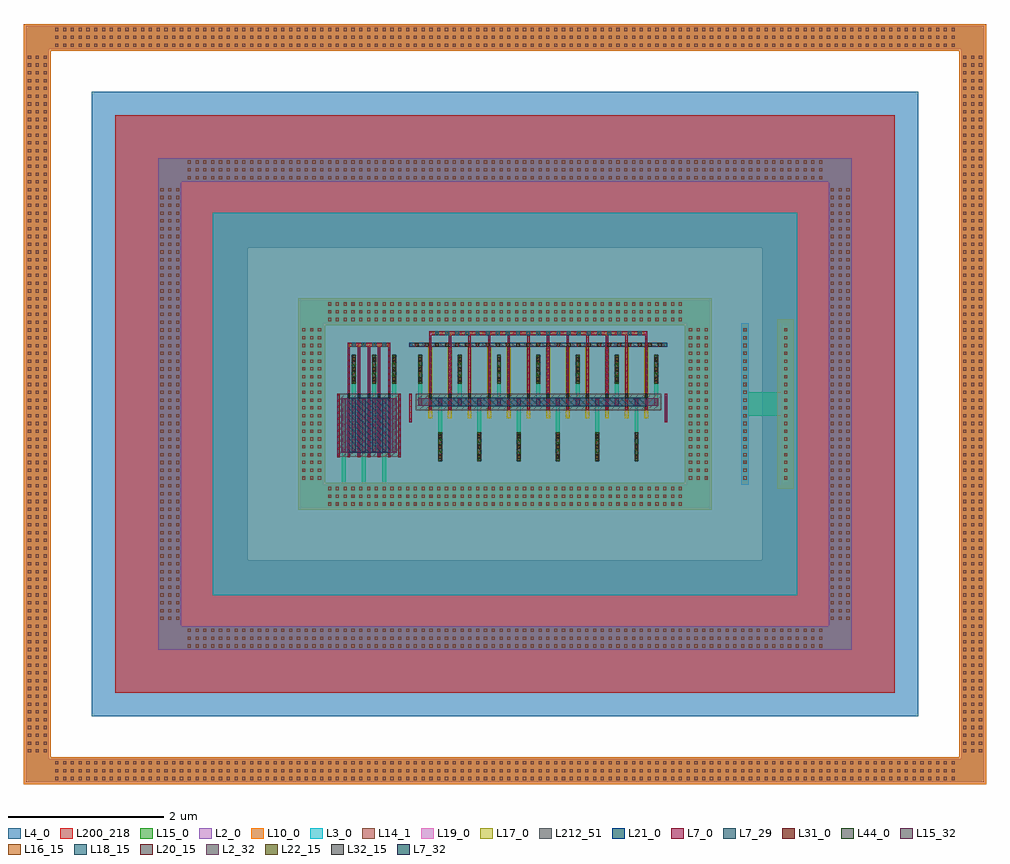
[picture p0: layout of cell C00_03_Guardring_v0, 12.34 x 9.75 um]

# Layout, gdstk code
import gdstk
lib = gdstk.Library(unit=1e-6, precision=1e-09)
def R(c, l, rs):  # rectangles x0, y0, x1, y1
    for r in rs: c.add(gdstk.rectangle(r[:2], r[2:], *l))
def A(c, l, x, y, w, h, nx, ny, dx, dy):  # array of equal rectangles
    R(c, l, [(x+i*dx, y+j*dy, x+i*dx+w, y+j*dy+h) for i in range(nx) for j in range(ny)])
L2_0 = (2, 0)
L2_32 = (2, 32)
L3_0 = (3, 0)
L4_0 = (4, 0)
L7_0 = (7, 0)
L7_29 = (7, 29)
L7_32 = (7, 32)
L10_0 = (10, 0)
L14_1 = (14, 1)
L15_0 = (15, 0)
L15_32 = (15, 32)
L16_15 = (16, 15)
L17_0 = (17, 0)
L18_15 = (18, 15)
L19_0 = (19, 0)
L20_15 = (20, 15)
L21_0 = (21, 0)
L22_15 = (22, 15)
L31_0 = (31, 0)
L32_15 = (32, 15)
L44_0 = (44, 0)
L200_218 = (200, 218)
L212_51 = (212, 51)

c00_03_guardring_v0_srf_ = lib.new_cell('C00_03_Guardring_v0:SRF_Tr1Tr2:SRF_Tr1:SRF_Nmos')
R(c00_03_guardring_v0_srf_, L2_0, [(-0.139,0.057,2.941,0.157)])
R(c00_03_guardring_v0_srf_, L2_32, [(-0.139,0.057,0,0.157), (2.802,0.057,2.941,0.157)])
A(c00_03_guardring_v0_srf_, L7_0, 0, 0, 0.03, 0.214, 12, 1, 0.252, 0)
R(c00_03_guardring_v0_srf_, L7_0, [(-0.252,-0.153,-0.222,0.214), (3.024,-0.153,3.054,0.214)])
R(c00_03_guardring_v0_srf_, L7_29, [(-0.005,0.052,2.807,0.162)])
A(c00_03_guardring_v0_srf_, L7_32, 0, 0.157, 0.03, 0.057, 12, 1, 0.252, 0)
A(c00_03_guardring_v0_srf_, L14_1, -0.131, 0.087, 0.04, 0.04, 13, 1, 0.252, 0)
R(c00_03_guardring_v0_srf_, L15_0, [(-0.136,0.066,-0.086,0.148), (-0.136,0.066,-0.086,0.148), (0.116,0.066,0.166,0.148), (0.116,0.066,0.166,0.148), (0.368,0.066,0.418,0.148), (0.368,0.066,0.418,0.148), (0.62,0.066,0.67,0.148), (0.62,0.066,0.67,0.148), (0.872,0.066,0.922,0.148), (0.872,0.066,0.922,0.148), (1.124,0.066,1.174,0.148), (1.124,0.066,1.174,0.148), (1.376,0.066,1.426,0.148), (1.376,0.066,1.426,0.148), (1.628,0.066,1.678,0.148), (1.628,0.066,1.678,0.148), (1.88,0.066,1.93,0.148), (1.88,0.066,1.93,0.148), (2.132,0.066,2.182,0.148), (2.132,0.066,2.182,0.148), (2.384,0.066,2.434,0.148), (2.384,0.066,2.434,0.148), (2.636,0.066,2.686,0.148), (2.636,0.066,2.686,0.148), (2.888,0.066,2.938,0.148), (2.888,0.066,2.938,0.148)])
A(c00_03_guardring_v0_srf_, L15_32, -0.136, 0.066, 0.05, 0.082, 13, 1, 0.252, 0)
R(c00_03_guardring_v0_srf_, L212_51, [(-0.174,0.001,2.976,0.213)])

c_c00_03_guardring_v0_srf_ = lib.new_cell('C00_03_Guardring_v0:SRF_Tr1Tr2:SRF_Tr1:SRF_Tr1_Source_ViaM1Mx:SRF_ViaM1M2')
R(c_c00_03_guardring_v0_srf_, L15_0, [(0,-0.292,0.05,0.082)])
A(c_c00_03_guardring_v0_srf_, L16_15, 0, -0.26, 0.05, 0.05, 1, 3, 0, 0.13)
R(c_c00_03_guardring_v0_srf_, L17_0, [(0,-0.292,0.05,0.082)])

c_c00_03_guardring_v0_srf__ = lib.new_cell('C00_03_Guardring_v0:SRF_Tr1Tr2:SRF_Tr1:SRF_Tr1_Source_ViaM1Mx:SRF_ViaM2M3')
R(c_c00_03_guardring_v0_srf__, L17_0, [(0,-0.292,0.05,0.082)])
A(c_c00_03_guardring_v0_srf__, L18_15, 0, -0.26, 0.05, 0.05, 1, 3, 0, 0.13)
R(c_c00_03_guardring_v0_srf__, L19_0, [(0,-0.292,0.05,0.082)])

c_c00_03_guardring_v0_srf___ = lib.new_cell('C00_03_Guardring_v0:SRF_Tr1Tr2:SRF_Tr1:SRF_Tr1_Source_ViaM1Mx:SRF_ViaM3M4')
R(c_c00_03_guardring_v0_srf___, L19_0, [(0,-0.292,0.05,0.082)])
A(c_c00_03_guardring_v0_srf___, L20_15, 0, -0.26, 0.05, 0.05, 1, 3, 0, 0.13)
R(c_c00_03_guardring_v0_srf___, L21_0, [(0,-0.292,0.05,0.082)])

c_c00_03_guardring_v0_srf____ = lib.new_cell('C00_03_Guardring_v0:SRF_Tr1Tr2:SRF_Tr1:SRF_Tr1_Source_ViaM1Mx:SRF_ViaM4M5')
R(c_c00_03_guardring_v0_srf____, L21_0, [(0,-0.292,0.05,0.082)])
A(c_c00_03_guardring_v0_srf____, L22_15, 0, -0.26, 0.05, 0.05, 1, 3, 0, 0.13)
R(c_c00_03_guardring_v0_srf____, L31_0, [(0,-0.292,0.05,0.082)])

c_c00_03_guardring_v0_srf_____ = lib.new_cell('C00_03_Guardring_v0:SRF_Tr1Tr2:SRF_Tr1:SRF_Tr1_Source_ViaM1Mx:SRF_ViaM5M6')
R(c_c00_03_guardring_v0_srf_____, L31_0, [(0,-0.292,0.05,0.082)])
A(c_c00_03_guardring_v0_srf_____, L32_15, 0, -0.26, 0.05, 0.05, 1, 3, 0, 0.13)
R(c_c00_03_guardring_v0_srf_____, L44_0, [(0,-0.292,0.05,0.082)])

c_c00_03_guardring_v0_srf______ = lib.new_cell('C00_03_Guardring_v0:SRF_Tr1Tr2:SRF_Tr1:SRF_Tr1_Source_ViaM1Mx')
c_c00_03_guardring_v0_srf______.add(gdstk.Reference(c_c00_03_guardring_v0_srf_, (-0.025,0.105)))
c_c00_03_guardring_v0_srf______.add(gdstk.Reference(c_c00_03_guardring_v0_srf__, (-0.025,0.105)))
c_c00_03_guardring_v0_srf______.add(gdstk.Reference(c_c00_03_guardring_v0_srf___, (-0.025,0.105)))
c_c00_03_guardring_v0_srf______.add(gdstk.Reference(c_c00_03_guardring_v0_srf____, (-0.025,0.105)))
c_c00_03_guardring_v0_srf______.add(gdstk.Reference(c_c00_03_guardring_v0_srf_____, (-0.025,0.105)))

c_c00_03_guardring_v0_srf_______ = lib.new_cell('C00_03_Guardring_v0:SRF_Tr1Tr2:SRF_Tr1:SRF_Ground_ViaM1Mx:SRF_ViaM1M2')
R(c_c00_03_guardring_v0_srf_______, L15_0, [(-0.032,0,3.202,0.05)])
A(c_c00_03_guardring_v0_srf_______, L16_15, 0, 0, 0.05, 0.05, 25, 1, 0.13, 0)
R(c_c00_03_guardring_v0_srf_______, L17_0, [(-0.032,0,3.202,0.05)])

c_c00_03_guardring_v0_srf________ = lib.new_cell('C00_03_Guardring_v0:SRF_Tr1Tr2:SRF_Tr1:SRF_Ground_ViaM1Mx:SRF_ViaM2M3')
R(c_c00_03_guardring_v0_srf________, L17_0, [(-0.032,0,3.202,0.05)])
A(c_c00_03_guardring_v0_srf________, L18_15, 0, 0, 0.05, 0.05, 25, 1, 0.13, 0)
R(c_c00_03_guardring_v0_srf________, L19_0, [(-0.032,0,3.202,0.05)])

c_c00_03_guardring_v0_srf_________ = lib.new_cell('C00_03_Guardring_v0:SRF_Tr1Tr2:SRF_Tr1:SRF_Ground_ViaM1Mx:SRF_ViaM3M4')
R(c_c00_03_guardring_v0_srf_________, L19_0, [(-0.032,0,3.202,0.05)])
A(c_c00_03_guardring_v0_srf_________, L20_15, 0, 0, 0.05, 0.05, 25, 1, 0.13, 0)
R(c_c00_03_guardring_v0_srf_________, L21_0, [(-0.032,0,3.202,0.05)])

c_c00_03_guardring_v0_srf__________ = lib.new_cell('C00_03_Guardring_v0:SRF_Tr1Tr2:SRF_Tr1:SRF_Ground_ViaM1Mx')
c_c00_03_guardring_v0_srf__________.add(gdstk.Reference(c_c00_03_guardring_v0_srf_______, (-1.585,-0.025)))
c_c00_03_guardring_v0_srf__________.add(gdstk.Reference(c_c00_03_guardring_v0_srf________, (-1.585,-0.025)))
c_c00_03_guardring_v0_srf__________.add(gdstk.Reference(c_c00_03_guardring_v0_srf_________, (-1.585,-0.025)))

c_c00_03_guardring_v0_srf___________ = lib.new_cell('C00_03_Guardring_v0:SRF_Tr1Tr2:SRF_Tr1:SRF_Gate_ViaM0M3:SRF_ViaM0M1')
R(c_c00_03_guardring_v0_srf___________, L7_0, [(-0.01,-0.004,2.05,0.044)])
A(c_c00_03_guardring_v0_srf___________, L14_1, 0, 0, 0.04, 0.04, 21, 1, 0.1, 0)
R(c_c00_03_guardring_v0_srf___________, L15_0, [(-0.021,-0.005,2.061,0.045)])

c_c00_03_guardring_v0_srf____________ = lib.new_cell('C00_03_Guardring_v0:SRF_Tr1Tr2:SRF_Tr1:SRF_Gate_ViaM0M3:SRF_ViaM1M2')
R(c_c00_03_guardring_v0_srf____________, L15_0, [(-0.032,0,2.682,0.05)])
A(c_c00_03_guardring_v0_srf____________, L16_15, 0, 0, 0.05, 0.05, 21, 1, 0.13, 0)
R(c_c00_03_guardring_v0_srf____________, L17_0, [(-0.032,0,2.682,0.05)])

c_c00_03_guardring_v0_srf_____________ = lib.new_cell('C00_03_Guardring_v0:SRF_Tr1Tr2:SRF_Tr1:SRF_Gate_ViaM0M3:SRF_ViaM2M3')
R(c_c00_03_guardring_v0_srf_____________, L17_0, [(-0.032,0,2.682,0.05)])
A(c_c00_03_guardring_v0_srf_____________, L18_15, 0, 0, 0.05, 0.05, 21, 1, 0.13, 0)
R(c_c00_03_guardring_v0_srf_____________, L19_0, [(-0.032,0,2.682,0.05)])

c_c00_03_guardring_v0_srf______________ = lib.new_cell('C00_03_Guardring_v0:SRF_Tr1Tr2:SRF_Tr1:SRF_Gate_ViaM0M3')
c_c00_03_guardring_v0_srf______________.add(gdstk.Reference(c_c00_03_guardring_v0_srf___________, (-1.02,-0.02)))
c_c00_03_guardring_v0_srf______________.add(gdstk.Reference(c_c00_03_guardring_v0_srf____________, (-1.325,-0.025)))
c_c00_03_guardring_v0_srf______________.add(gdstk.Reference(c_c00_03_guardring_v0_srf_____________, (-1.325,-0.025)))

c_c00_03_guardring_v0_srf_______________ = lib.new_cell('C00_03_Guardring_v0:SRF_Tr1Tr2:SRF_Tr1:SRF_Tr1_Drain_ViaM1Mx:SRF_ViaM1M2')
R(c_c00_03_guardring_v0_srf_______________, L15_0, [(0,-0.292,0.05,0.082)])
A(c_c00_03_guardring_v0_srf_______________, L16_15, 0, -0.26, 0.05, 0.05, 1, 3, 0, 0.13)
R(c_c00_03_guardring_v0_srf_______________, L17_0, [(0,-0.292,0.05,0.082)])

c_c00_03_guardring_v0_srf________________ = lib.new_cell('C00_03_Guardring_v0:SRF_Tr1Tr2:SRF_Tr1:SRF_Tr1_Drain_ViaM1Mx:SRF_ViaM2M3')
R(c_c00_03_guardring_v0_srf________________, L17_0, [(0,-0.292,0.05,0.082)])
A(c_c00_03_guardring_v0_srf________________, L18_15, 0, -0.26, 0.05, 0.05, 1, 3, 0, 0.13)
R(c_c00_03_guardring_v0_srf________________, L19_0, [(0,-0.292,0.05,0.082)])

c_c00_03_guardring_v0_srf_________________ = lib.new_cell('C00_03_Guardring_v0:SRF_Tr1Tr2:SRF_Tr1:SRF_Tr1_Drain_ViaM1Mx:SRF_ViaM3M4')
R(c_c00_03_guardring_v0_srf_________________, L19_0, [(0,-0.292,0.05,0.082)])
A(c_c00_03_guardring_v0_srf_________________, L20_15, 0, -0.26, 0.05, 0.05, 1, 3, 0, 0.13)
R(c_c00_03_guardring_v0_srf_________________, L21_0, [(0,-0.292,0.05,0.082)])

c_c00_03_guardring_v0_srf__________________ = lib.new_cell('C00_03_Guardring_v0:SRF_Tr1Tr2:SRF_Tr1:SRF_Tr1_Drain_ViaM1Mx:SRF_ViaM4M5')
R(c_c00_03_guardring_v0_srf__________________, L21_0, [(0,-0.292,0.05,0.082)])
A(c_c00_03_guardring_v0_srf__________________, L22_15, 0, -0.26, 0.05, 0.05, 1, 3, 0, 0.13)
R(c_c00_03_guardring_v0_srf__________________, L31_0, [(0,-0.292,0.05,0.082)])

c_c00_03_guardring_v0_srf___________________ = lib.new_cell('C00_03_Guardring_v0:SRF_Tr1Tr2:SRF_Tr1:SRF_Tr1_Drain_ViaM1Mx:SRF_ViaM5M6')
R(c_c00_03_guardring_v0_srf___________________, L31_0, [(0,-0.292,0.05,0.082)])
A(c_c00_03_guardring_v0_srf___________________, L32_15, 0, -0.26, 0.05, 0.05, 1, 3, 0, 0.13)
R(c_c00_03_guardring_v0_srf___________________, L44_0, [(0,-0.292,0.05,0.082)])

c_c00_03_guardring_v0_srf____________________ = lib.new_cell('C00_03_Guardring_v0:SRF_Tr1Tr2:SRF_Tr1:SRF_Tr1_Drain_ViaM1Mx')
c_c00_03_guardring_v0_srf____________________.add(gdstk.Reference(c_c00_03_guardring_v0_srf_______________, (-0.025,0.105)))
c_c00_03_guardring_v0_srf____________________.add(gdstk.Reference(c_c00_03_guardring_v0_srf________________, (-0.025,0.105)))
c_c00_03_guardring_v0_srf____________________.add(gdstk.Reference(c_c00_03_guardring_v0_srf_________________, (-0.025,0.105)))
c_c00_03_guardring_v0_srf____________________.add(gdstk.Reference(c_c00_03_guardring_v0_srf__________________, (-0.025,0.105)))
c_c00_03_guardring_v0_srf____________________.add(gdstk.Reference(c_c00_03_guardring_v0_srf___________________, (-0.025,0.105)))

c_c00_03_guardring_v0_srf_____________________ = lib.new_cell('C00_03_Guardring_v0:SRF_Tr1Tr2:SRF_Tr1')
A(c_c00_03_guardring_v0_srf_____________________, L7_0, 0, 0.214, 0.03, 0.75, 12, 1, 0.252, 0)
R(c_c00_03_guardring_v0_srf_____________________, L7_0, [(0,0.964,2.802,1.014)])
A(c_c00_03_guardring_v0_srf_____________________, L15_0, 0.116, -0.653, 0.05, 0.719, 6, 1, 0.504, 0)
A(c_c00_03_guardring_v0_srf_____________________, L15_0, -0.01, -0.1, 0.05, 0.914, 12, 1, 0.252, 0)
A(c_c00_03_guardring_v0_srf_____________________, L15_0, -0.136, 0.148, 0.05, 0.566, 7, 1, 0.504, 0)
R(c_c00_03_guardring_v0_srf_____________________, L15_0, [(-0.252,0.814,3.054,0.864)])
A(c_c00_03_guardring_v0_srf_____________________, L17_0, -0.01, -0.1, 0.05, 0.914, 12, 1, 0.252, 0)
A(c_c00_03_guardring_v0_srf_____________________, L19_0, -0.01, -0.1, 0.05, 0.914, 12, 1, 0.252, 0)
R(c_c00_03_guardring_v0_srf_____________________, L19_0, [(0,0.964,2.802,1.014)])
R(c_c00_03_guardring_v0_srf_____________________, L21_0, [(-0.252,0.814,3.054,0.864)])
c_c00_03_guardring_v0_srf_____________________.add(gdstk.Reference(c00_03_guardring_v0_srf_, (0,0)))
c_c00_03_guardring_v0_srf_____________________.add(gdstk.Reference(c_c00_03_guardring_v0_srf______, (-0.111,0.527)))
c_c00_03_guardring_v0_srf_____________________.add(gdstk.Reference(c_c00_03_guardring_v0_srf______, (0.393,0.527)))
c_c00_03_guardring_v0_srf_____________________.add(gdstk.Reference(c_c00_03_guardring_v0_srf______, (0.897,0.527)))
c_c00_03_guardring_v0_srf_____________________.add(gdstk.Reference(c_c00_03_guardring_v0_srf______, (1.401,0.527)))
c_c00_03_guardring_v0_srf_____________________.add(gdstk.Reference(c_c00_03_guardring_v0_srf______, (1.905,0.527)))
c_c00_03_guardring_v0_srf_____________________.add(gdstk.Reference(c_c00_03_guardring_v0_srf______, (2.409,0.527)))
c_c00_03_guardring_v0_srf_____________________.add(gdstk.Reference(c_c00_03_guardring_v0_srf______, (2.913,0.527)))
c_c00_03_guardring_v0_srf_____________________.add(gdstk.Reference(c_c00_03_guardring_v0_srf__________, (1.401,0.839)))
c_c00_03_guardring_v0_srf_____________________.add(gdstk.Reference(c_c00_03_guardring_v0_srf______________, (1.401,0.989)))
c_c00_03_guardring_v0_srf_____________________.add(gdstk.Reference(c_c00_03_guardring_v0_srf____________________, (0.141,-0.466)))
c_c00_03_guardring_v0_srf_____________________.add(gdstk.Reference(c_c00_03_guardring_v0_srf____________________, (0.645,-0.466)))
c_c00_03_guardring_v0_srf_____________________.add(gdstk.Reference(c_c00_03_guardring_v0_srf____________________, (1.149,-0.466)))
c_c00_03_guardring_v0_srf_____________________.add(gdstk.Reference(c_c00_03_guardring_v0_srf____________________, (1.653,-0.466)))
c_c00_03_guardring_v0_srf_____________________.add(gdstk.Reference(c_c00_03_guardring_v0_srf____________________, (2.157,-0.466)))
c_c00_03_guardring_v0_srf_____________________.add(gdstk.Reference(c_c00_03_guardring_v0_srf____________________, (2.661,-0.466)))

c_c00_03_guardring_v0_srf______________________ = lib.new_cell('C00_03_Guardring_v0:SRF_Tr1Tr2:SRF_Tr2:SRF_Nmos')
R(c_c00_03_guardring_v0_srf______________________, L2_0, [(-0.078,0.057,0.628,0.757)])
R(c_c00_03_guardring_v0_srf______________________, L2_32, [(-0.078,0.057,0,0.757), (0.55,0.057,0.628,0.757)])
A(c_c00_03_guardring_v0_srf______________________, L7_0, -0.13, 0, 0.03, 0.814, 7, 1, 0.13, 0)
R(c_c00_03_guardring_v0_srf______________________, L7_29, [(-0.005,0.052,0.555,0.762)])
A(c_c00_03_guardring_v0_srf______________________, L7_32, 0, 0.757, 0.03, 0.057, 5, 1, 0.13, 0)
A(c_c00_03_guardring_v0_srf______________________, L14_1, -0.07, 0.087, 0.04, 0.04, 6, 7, 0.13, 0.1)
R(c_c00_03_guardring_v0_srf______________________, L15_0, [(-0.075,0.066,-0.025,0.748), (-0.075,0.066,-0.025,0.748), (0.055,0.066,0.105,0.748), (0.055,0.066,0.105,0.748), (0.185,0.066,0.235,0.748), (0.185,0.066,0.235,0.748), (0.315,0.066,0.365,0.748), (0.315,0.066,0.365,0.748), (0.445,0.066,0.495,0.748), (0.445,0.066,0.495,0.748), (0.575,0.066,0.625,0.748), (0.575,0.066,0.625,0.748)])
A(c_c00_03_guardring_v0_srf______________________, L15_32, -0.075, 0.066, 0.05, 0.682, 6, 1, 0.13, 0)
R(c_c00_03_guardring_v0_srf______________________, L212_51, [(-0.113,0.001,0.663,0.813)])

c_c00_03_guardring_v0_srf_______________________ = lib.new_cell('C00_03_Guardring_v0:SRF_Tr1Tr2:SRF_Tr2:SRF_Tr2_Drain_ViaM1Mx:SRF_ViaM1M2')
R(c_c00_03_guardring_v0_srf_______________________, L15_0, [(0,-0.292,0.05,0.082)])
A(c_c00_03_guardring_v0_srf_______________________, L16_15, 0, -0.26, 0.05, 0.05, 1, 3, 0, 0.13)
R(c_c00_03_guardring_v0_srf_______________________, L17_0, [(0,-0.292,0.05,0.082)])

c_c00_03_guardring_v0_srf________________________ = lib.new_cell('C00_03_Guardring_v0:SRF_Tr1Tr2:SRF_Tr2:SRF_Tr2_Drain_ViaM1Mx:SRF_ViaM2M3')
R(c_c00_03_guardring_v0_srf________________________, L17_0, [(0,-0.292,0.05,0.082)])
A(c_c00_03_guardring_v0_srf________________________, L18_15, 0, -0.26, 0.05, 0.05, 1, 3, 0, 0.13)
R(c_c00_03_guardring_v0_srf________________________, L19_0, [(0,-0.292,0.05,0.082)])

c_c00_03_guardring_v0_srf_________________________ = lib.new_cell('C00_03_Guardring_v0:SRF_Tr1Tr2:SRF_Tr2:SRF_Tr2_Drain_ViaM1Mx:SRF_ViaM3M4')
R(c_c00_03_guardring_v0_srf_________________________, L19_0, [(0,-0.292,0.05,0.082)])
A(c_c00_03_guardring_v0_srf_________________________, L20_15, 0, -0.26, 0.05, 0.05, 1, 3, 0, 0.13)
R(c_c00_03_guardring_v0_srf_________________________, L21_0, [(0,-0.292,0.05,0.082)])

c_c00_03_guardring_v0_srf__________________________ = lib.new_cell('C00_03_Guardring_v0:SRF_Tr1Tr2:SRF_Tr2:SRF_Tr2_Drain_ViaM1Mx:SRF_ViaM4M5')
R(c_c00_03_guardring_v0_srf__________________________, L21_0, [(0,-0.292,0.05,0.082)])
A(c_c00_03_guardring_v0_srf__________________________, L22_15, 0, -0.26, 0.05, 0.05, 1, 3, 0, 0.13)
R(c_c00_03_guardring_v0_srf__________________________, L31_0, [(0,-0.292,0.05,0.082)])

c_c00_03_guardring_v0_srf___________________________ = lib.new_cell('C00_03_Guardring_v0:SRF_Tr1Tr2:SRF_Tr2:SRF_Tr2_Drain_ViaM1Mx:SRF_ViaM5M6')
R(c_c00_03_guardring_v0_srf___________________________, L31_0, [(0,-0.292,0.05,0.082)])
A(c_c00_03_guardring_v0_srf___________________________, L32_15, 0, -0.26, 0.05, 0.05, 1, 3, 0, 0.13)
R(c_c00_03_guardring_v0_srf___________________________, L44_0, [(0,-0.292,0.05,0.082)])

c_c00_03_guardring_v0_srf____________________________ = lib.new_cell('C00_03_Guardring_v0:SRF_Tr1Tr2:SRF_Tr2:SRF_Tr2_Drain_ViaM1Mx')
c_c00_03_guardring_v0_srf____________________________.add(gdstk.Reference(c_c00_03_guardring_v0_srf_______________________, (-0.025,0.105)))
c_c00_03_guardring_v0_srf____________________________.add(gdstk.Reference(c_c00_03_guardring_v0_srf________________________, (-0.025,0.105)))
c_c00_03_guardring_v0_srf____________________________.add(gdstk.Reference(c_c00_03_guardring_v0_srf_________________________, (-0.025,0.105)))
c_c00_03_guardring_v0_srf____________________________.add(gdstk.Reference(c_c00_03_guardring_v0_srf__________________________, (-0.025,0.105)))
c_c00_03_guardring_v0_srf____________________________.add(gdstk.Reference(c_c00_03_guardring_v0_srf___________________________, (-0.025,0.105)))

c_c00_03_guardring_v0_srf_____________________________ = lib.new_cell('C00_03_Guardring_v0:SRF_Tr1Tr2:SRF_Tr2:SRF_Gate_ViaM0M3:SRF_ViaM0M1')
R(c_c00_03_guardring_v0_srf_____________________________, L7_0, [(-0.01,-0.004,0.35,0.044)])
A(c_c00_03_guardring_v0_srf_____________________________, L14_1, 0, 0, 0.04, 0.04, 4, 1, 0.1, 0)
R(c_c00_03_guardring_v0_srf_____________________________, L15_0, [(-0.021,-0.005,0.361,0.045)])

c_c00_03_guardring_v0_srf______________________________ = lib.new_cell('C00_03_Guardring_v0:SRF_Tr1Tr2:SRF_Tr2:SRF_Gate_ViaM0M3:SRF_ViaM1M2')
R(c_c00_03_guardring_v0_srf______________________________, L15_0, [(-0.032,0,0.472,0.05)])
A(c_c00_03_guardring_v0_srf______________________________, L16_15, 0, 0, 0.05, 0.05, 4, 1, 0.13, 0)
R(c_c00_03_guardring_v0_srf______________________________, L17_0, [(-0.032,0,0.472,0.05)])

c_c00_03_guardring_v0_srf_______________________________ = lib.new_cell('C00_03_Guardring_v0:SRF_Tr1Tr2:SRF_Tr2:SRF_Gate_ViaM0M3:SRF_ViaM2M3')
R(c_c00_03_guardring_v0_srf_______________________________, L17_0, [(-0.032,0,0.472,0.05)])
A(c_c00_03_guardring_v0_srf_______________________________, L18_15, 0, 0, 0.05, 0.05, 4, 1, 0.13, 0)
R(c_c00_03_guardring_v0_srf_______________________________, L19_0, [(-0.032,0,0.472,0.05)])

c_c00_03_guardring_v0_srf________________________________ = lib.new_cell('C00_03_Guardring_v0:SRF_Tr1Tr2:SRF_Tr2:SRF_Gate_ViaM0M3')
c_c00_03_guardring_v0_srf________________________________.add(gdstk.Reference(c_c00_03_guardring_v0_srf_____________________________, (-0.17,-0.02)))
c_c00_03_guardring_v0_srf________________________________.add(gdstk.Reference(c_c00_03_guardring_v0_srf______________________________, (-0.22,-0.025)))
c_c00_03_guardring_v0_srf________________________________.add(gdstk.Reference(c_c00_03_guardring_v0_srf_______________________________, (-0.22,-0.025)))

c_c00_03_guardring_v0_srf_________________________________ = lib.new_cell('C00_03_Guardring_v0:SRF_Tr1Tr2:SRF_Tr2')
A(c_c00_03_guardring_v0_srf_________________________________, L7_0, 0, 0.814, 0.03, 0.6, 5, 1, 0.13, 0)
R(c_c00_03_guardring_v0_srf_________________________________, L7_0, [(0,1.414,0.55,1.464)])
A(c_c00_03_guardring_v0_srf_________________________________, L15_0, 0.055, 0.748, 0.05, 0.566, 3, 1, 0.26, 0)
R(c_c00_03_guardring_v0_srf_________________________________, L19_0, [(0,1.414,0.55,1.464)])
c_c00_03_guardring_v0_srf_________________________________.add(gdstk.Reference(c_c00_03_guardring_v0_srf______________________, (0,0)))
c_c00_03_guardring_v0_srf_________________________________.add(gdstk.Reference(c_c00_03_guardring_v0_srf____________________________, (0.08,1.127)))
c_c00_03_guardring_v0_srf_________________________________.add(gdstk.Reference(c_c00_03_guardring_v0_srf____________________________, (0.34,1.127)))
c_c00_03_guardring_v0_srf_________________________________.add(gdstk.Reference(c_c00_03_guardring_v0_srf____________________________, (0.6,1.127)))
c_c00_03_guardring_v0_srf_________________________________.add(gdstk.Reference(c_c00_03_guardring_v0_srf________________________________, (0.275,1.439)))

c_c00_03_guardring_v0_srf__________________________________ = lib.new_cell('C00_03_Guardring_v0:SRF_Tr1Tr2')
c_c00_03_guardring_v0_srf__________________________________.add(gdstk.Reference(c_c00_03_guardring_v0_srf_____________________, (0,0)))
c_c00_03_guardring_v0_srf__________________________________.add(gdstk.Reference(c_c00_03_guardring_v0_srf_________________________________, (-1.046,-0.6)))

c_c00_03_guardring_v0_srf___________________________________ = lib.new_cell('C00_03_Guardring_v0:SRF_Pbodyring:SRF_PbodyTop:SRF_PbodyContactPhyLen')
R(c_c00_03_guardring_v0_srf___________________________________, L2_0, [(-0.06,-0.23,4.6,0.07)])
R(c_c00_03_guardring_v0_srf___________________________________, L10_0, [(-0.081,-0.251,4.621,0.091)])
A(c_c00_03_guardring_v0_srf___________________________________, L14_1, 0, -0.2, 0.04, 0.04, 46, 3, 0.1, 0.1)
R(c_c00_03_guardring_v0_srf___________________________________, L15_0, [(-0.06,-0.23,4.6,0.07)])

c_c00_03_guardring_v0_srf____________________________________ = lib.new_cell('C00_03_Guardring_v0:SRF_Pbodyring:SRF_PbodyTop')
c_c00_03_guardring_v0_srf____________________________________.add(gdstk.Reference(c_c00_03_guardring_v0_srf___________________________________, (0,0)))

c_c00_03_guardring_v0_srf_____________________________________ = lib.new_cell('C00_03_Guardring_v0:SRF_Pbodyring:SRF_PbodyBottom:SRF_PbodyContactPhyLen')
R(c_c00_03_guardring_v0_srf_____________________________________, L2_0, [(-0.06,-0.23,4.6,0.07)])
R(c_c00_03_guardring_v0_srf_____________________________________, L10_0, [(-0.081,-0.251,4.621,0.091)])
A(c_c00_03_guardring_v0_srf_____________________________________, L14_1, 0, -0.2, 0.04, 0.04, 46, 3, 0.1, 0.1)
R(c_c00_03_guardring_v0_srf_____________________________________, L15_0, [(-0.06,-0.23,4.6,0.07)])

c_c00_03_guardring_v0_srf______________________________________ = lib.new_cell('C00_03_Guardring_v0:SRF_Pbodyring:SRF_PbodyBottom')
c_c00_03_guardring_v0_srf______________________________________.add(gdstk.Reference(c_c00_03_guardring_v0_srf_____________________________________, (0,0)))

c_c00_03_guardring_v0_srf_______________________________________ = lib.new_cell('C00_03_Guardring_v0:SRF_Pbodyring:SRF_PbodyLeft:SRF_PbodyContactPhyLen')
R(c_c00_03_guardring_v0_srf_______________________________________, L2_0, [(-0.03,-1.964,0.27,0.103)])
R(c_c00_03_guardring_v0_srf_______________________________________, L10_0, [(-0.051,-1.984,0.291,0.125)])
A(c_c00_03_guardring_v0_srf_______________________________________, L14_1, 0, -1.9, 0.04, 0.04, 3, 20, 0.1, 0.1)
R(c_c00_03_guardring_v0_srf_______________________________________, L15_0, [(-0.03,-1.964,0.27,0.103)])

c_c00_03_guardring_v0_srf________________________________________ = lib.new_cell('C00_03_Guardring_v0:SRF_Pbodyring:SRF_PbodyLeft')
c_c00_03_guardring_v0_srf________________________________________.add(gdstk.Reference(c_c00_03_guardring_v0_srf_______________________________________, (0,0)))

c_c00_03_guardring_v0_srf_________________________________________ = lib.new_cell('C00_03_Guardring_v0:SRF_Pbodyring:SRF_PbodyRight:SRF_PbodyContactPhyLen')
R(c_c00_03_guardring_v0_srf_________________________________________, L2_0, [(-0.03,-1.964,0.27,0.103)])
R(c_c00_03_guardring_v0_srf_________________________________________, L10_0, [(-0.051,-1.984,0.291,0.125)])
A(c_c00_03_guardring_v0_srf_________________________________________, L14_1, 0, -1.9, 0.04, 0.04, 3, 20, 0.1, 0.1)
R(c_c00_03_guardring_v0_srf_________________________________________, L15_0, [(-0.03,-1.964,0.27,0.103)])

c_c00_03_guardring_v0_srf__________________________________________ = lib.new_cell('C00_03_Guardring_v0:SRF_Pbodyring:SRF_PbodyRight')
c_c00_03_guardring_v0_srf__________________________________________.add(gdstk.Reference(c_c00_03_guardring_v0_srf_________________________________________, (0,0)))

c_c00_03_guardring_v0_srf___________________________________________ = lib.new_cell('C00_03_Guardring_v0:SRF_Pbodyring')
R(c_c00_03_guardring_v0_srf___________________________________________, L2_0, [(-0.36,-2.597,4.9,-2.297), (-0.36,-2.597,-0.06,0.07), (4.6,-2.597,4.9,0.07), (-0.36,-0.23,4.9,0.07)])
R(c_c00_03_guardring_v0_srf___________________________________________, L10_0, [(-0.381,-2.618,4.921,-2.276), (-0.381,-2.618,-0.039,0.091), (4.579,-2.618,4.921,0.091), (-0.381,-0.251,4.921,0.091)])
R(c_c00_03_guardring_v0_srf___________________________________________, L15_0, [(-0.36,-2.597,4.9,-2.297), (-0.36,-2.597,-0.06,0.07), (4.6,-2.597,4.9,0.07), (-0.36,-0.23,4.9,0.07)])
c_c00_03_guardring_v0_srf___________________________________________.add(gdstk.Reference(c_c00_03_guardring_v0_srf____________________________________, (0,0)))
c_c00_03_guardring_v0_srf___________________________________________.add(gdstk.Reference(c_c00_03_guardring_v0_srf______________________________________, (0,-2.367)))
c_c00_03_guardring_v0_srf___________________________________________.add(gdstk.Reference(c_c00_03_guardring_v0_srf________________________________________, (-0.33,-0.333)))
c_c00_03_guardring_v0_srf___________________________________________.add(gdstk.Reference(c_c00_03_guardring_v0_srf__________________________________________, (4.63,-0.333)))

c_c00_03_guardring_v0_srf____________________________________________ = lib.new_cell('C00_03_Guardring_v0:SRF_Nbody_withinPIsolated:SRF_NbodyContactPhyLen')
R(c_c00_03_guardring_v0_srf____________________________________________, L2_0, [(-0.03,-1.964,0.07,0.103)])
A(c_c00_03_guardring_v0_srf____________________________________________, L14_1, 0, -1.9, 0.04, 0.04, 1, 20, 0, 0.1)
R(c_c00_03_guardring_v0_srf____________________________________________, L15_0, [(-0.03,-1.964,0.07,0.103)])

c_c00_03_guardring_v0_srf_____________________________________________ = lib.new_cell('C00_03_Guardring_v0:SRF_Nbody_withinPIsolated')
c_c00_03_guardring_v0_srf_____________________________________________.add(gdstk.Reference(c_c00_03_guardring_v0_srf____________________________________________, (0,0)))

c_c00_03_guardring_v0_srf______________________________________________ = lib.new_cell('C00_03_Guardring_v0:SRF_Nbodyring:SRF_NbodyTop:SRF_NbodyContactPhyLen')
R(c_c00_03_guardring_v0_srf______________________________________________, L2_0, [(-0.081,-0.23,8.221,0.07)])
R(c_c00_03_guardring_v0_srf______________________________________________, L4_0, [(-0.931,-1.08,9.071,0.92)])
A(c_c00_03_guardring_v0_srf______________________________________________, L14_1, 0, -0.2, 0.04, 0.04, 82, 3, 0.1, 0.1)
R(c_c00_03_guardring_v0_srf______________________________________________, L15_0, [(-0.081,-0.23,8.221,0.07)])

c_c00_03_guardring_v0_srf_______________________________________________ = lib.new_cell('C00_03_Guardring_v0:SRF_Nbodyring:SRF_NbodyTop')
c_c00_03_guardring_v0_srf_______________________________________________.add(gdstk.Reference(c_c00_03_guardring_v0_srf______________________________________________, (0,0)))

c_c00_03_guardring_v0_srf________________________________________________ = lib.new_cell('C00_03_Guardring_v0:SRF_Nbodyring:SRF_NbodyBottom:SRF_NbodyContactPhyLen')
R(c_c00_03_guardring_v0_srf________________________________________________, L2_0, [(-0.081,-0.23,8.221,0.07)])
R(c_c00_03_guardring_v0_srf________________________________________________, L4_0, [(-0.931,-1.08,9.071,0.92)])
A(c_c00_03_guardring_v0_srf________________________________________________, L14_1, 0, -0.2, 0.04, 0.04, 82, 3, 0.1, 0.1)
R(c_c00_03_guardring_v0_srf________________________________________________, L15_0, [(-0.081,-0.23,8.221,0.07)])

c_c00_03_guardring_v0_srf_________________________________________________ = lib.new_cell('C00_03_Guardring_v0:SRF_Nbodyring:SRF_NbodyBottom')
c_c00_03_guardring_v0_srf_________________________________________________.add(gdstk.Reference(c_c00_03_guardring_v0_srf________________________________________________, (0,0)))

c_c00_03_guardring_v0_srf__________________________________________________ = lib.new_cell('C00_03_Guardring_v0:SRF_Nbodyring:SRF_NbodyLeft:SRF_NbodyContactPhyLen')
R(c_c00_03_guardring_v0_srf__________________________________________________, L2_0, [(-0.03,-5.584,0.27,0.125)])
R(c_c00_03_guardring_v0_srf__________________________________________________, L4_0, [(-0.88,-6.434,1.12,0.975)])
A(c_c00_03_guardring_v0_srf__________________________________________________, L14_1, 0, -5.5, 0.04, 0.04, 3, 56, 0.1, 0.1)
R(c_c00_03_guardring_v0_srf__________________________________________________, L15_0, [(-0.03,-5.584,0.27,0.125)])

c_c00_03_guardring_v0_srf___________________________________________________ = lib.new_cell('C00_03_Guardring_v0:SRF_Nbodyring:SRF_NbodyLeft')
c_c00_03_guardring_v0_srf___________________________________________________.add(gdstk.Reference(c_c00_03_guardring_v0_srf__________________________________________________, (0,0)))

c_c00_03_guardring_v0_srf____________________________________________________ = lib.new_cell('C00_03_Guardring_v0:SRF_Nbodyring:SRF_NbodyRight:SRF_NbodyContactPhyLen')
R(c_c00_03_guardring_v0_srf____________________________________________________, L2_0, [(-0.03,-5.584,0.27,0.125)])
R(c_c00_03_guardring_v0_srf____________________________________________________, L4_0, [(-0.88,-6.434,1.12,0.975)])
A(c_c00_03_guardring_v0_srf____________________________________________________, L14_1, 0, -5.5, 0.04, 0.04, 3, 56, 0.1, 0.1)
R(c_c00_03_guardring_v0_srf____________________________________________________, L15_0, [(-0.03,-5.584,0.27,0.125)])

c_c00_03_guardring_v0_srf_____________________________________________________ = lib.new_cell('C00_03_Guardring_v0:SRF_Nbodyring:SRF_NbodyRight')
c_c00_03_guardring_v0_srf_____________________________________________________.add(gdstk.Reference(c_c00_03_guardring_v0_srf____________________________________________________, (0,0)))

c_c00_03_guardring_v0_srf______________________________________________________ = lib.new_cell('C00_03_Guardring_v0:SRF_Nbodyring')
R(c_c00_03_guardring_v0_srf______________________________________________________, L2_0, [(-0.381,-6.239,8.521,-5.939), (-0.381,-6.239,-0.081,0.07), (8.221,-6.239,8.521,0.07), (-0.381,-0.23,8.521,0.07)])
R(c_c00_03_guardring_v0_srf______________________________________________________, L4_0, [(-1.231,-7.089,9.371,-5.089), (-1.231,-7.089,0.769,0.92), (7.371,-7.089,9.371,0.92), (-1.231,-1.08,9.371,0.92)])
R(c_c00_03_guardring_v0_srf______________________________________________________, L15_0, [(-0.381,-6.239,8.521,-5.939), (-0.381,-6.239,-0.081,0.07), (8.221,-6.239,8.521,0.07), (-0.381,-0.23,8.521,0.07)])
c_c00_03_guardring_v0_srf______________________________________________________.add(gdstk.Reference(c_c00_03_guardring_v0_srf_______________________________________________, (0,0)))
c_c00_03_guardring_v0_srf______________________________________________________.add(gdstk.Reference(c_c00_03_guardring_v0_srf_________________________________________________, (0,-6.009)))
c_c00_03_guardring_v0_srf______________________________________________________.add(gdstk.Reference(c_c00_03_guardring_v0_srf___________________________________________________, (-0.351,-0.355)))
c_c00_03_guardring_v0_srf______________________________________________________.add(gdstk.Reference(c_c00_03_guardring_v0_srf_____________________________________________________, (8.251,-0.355)))

c_c00_03_guardring_v0_srf_______________________________________________________ = lib.new_cell('C00_03_Guardring_v0:SRF_Pbody_withinNW:SRF_PbodyContactPhyLen')
R(c_c00_03_guardring_v0_srf_______________________________________________________, L2_0, [(-0.03,-1.964,0.07,0.103)])
R(c_c00_03_guardring_v0_srf_______________________________________________________, L10_0, [(-0.051,-1.984,0.091,0.125)])
A(c_c00_03_guardring_v0_srf_______________________________________________________, L14_1, 0, -1.9, 0.04, 0.04, 1, 20, 0, 0.1)
R(c_c00_03_guardring_v0_srf_______________________________________________________, L15_0, [(-0.03,-1.964,0.07,0.103)])

c_c00_03_guardring_v0_srf________________________________________________________ = lib.new_cell('C00_03_Guardring_v0:SRF_Pbody_withinNW')
c_c00_03_guardring_v0_srf________________________________________________________.add(gdstk.Reference(c_c00_03_guardring_v0_srf_______________________________________________________, (0,0)))

c_c00_03_guardring_v0_srf_________________________________________________________ = lib.new_cell('C00_03_Guardring_v0:SRF_Pbodyring2:SRF_PbodyTop:SRF_PbodyContactPhyLen')
R(c_c00_03_guardring_v0_srf_________________________________________________________, L2_0, [(-0.081,-0.23,11.621,0.07)])
R(c_c00_03_guardring_v0_srf_________________________________________________________, L10_0, [(-0.102,-0.251,11.642,0.091)])
A(c_c00_03_guardring_v0_srf_________________________________________________________, L14_1, 0, -0.2, 0.04, 0.04, 116, 3, 0.1, 0.1)
R(c_c00_03_guardring_v0_srf_________________________________________________________, L15_0, [(-0.081,-0.23,11.621,0.07)])

c_c00_03_guardring_v0_srf__________________________________________________________ = lib.new_cell('C00_03_Guardring_v0:SRF_Pbodyring2:SRF_PbodyTop')
c_c00_03_guardring_v0_srf__________________________________________________________.add(gdstk.Reference(c_c00_03_guardring_v0_srf_________________________________________________________, (0,0)))

c_c00_03_guardring_v0_srf___________________________________________________________ = lib.new_cell('C00_03_Guardring_v0:SRF_Pbodyring2:SRF_PbodyBottom:SRF_PbodyContactPhyLen')
R(c_c00_03_guardring_v0_srf___________________________________________________________, L2_0, [(-0.081,-0.23,11.621,0.07)])
R(c_c00_03_guardring_v0_srf___________________________________________________________, L10_0, [(-0.102,-0.251,11.642,0.091)])
A(c_c00_03_guardring_v0_srf___________________________________________________________, L14_1, 0, -0.2, 0.04, 0.04, 116, 3, 0.1, 0.1)
R(c_c00_03_guardring_v0_srf___________________________________________________________, L15_0, [(-0.081,-0.23,11.621,0.07)])

c_c00_03_guardring_v0_srf____________________________________________________________ = lib.new_cell('C00_03_Guardring_v0:SRF_Pbodyring2:SRF_PbodyBottom')
c_c00_03_guardring_v0_srf____________________________________________________________.add(gdstk.Reference(c_c00_03_guardring_v0_srf___________________________________________________________, (0,0)))

c_c00_03_guardring_v0_srf_____________________________________________________________ = lib.new_cell('C00_03_Guardring_v0:SRF_Pbodyring2:SRF_PbodyLeft:SRF_PbodyContactPhyLen')
R(c_c00_03_guardring_v0_srf_____________________________________________________________, L2_0, [(-0.03,-8.984,0.27,0.125)])
R(c_c00_03_guardring_v0_srf_____________________________________________________________, L10_0, [(-0.051,-9.006,0.291,0.145)])
A(c_c00_03_guardring_v0_srf_____________________________________________________________, L14_1, 0, -8.9, 0.04, 0.04, 3, 90, 0.1, 0.1)
R(c_c00_03_guardring_v0_srf_____________________________________________________________, L15_0, [(-0.03,-8.984,0.27,0.125)])

c_c00_03_guardring_v0_srf______________________________________________________________ = lib.new_cell('C00_03_Guardring_v0:SRF_Pbodyring2:SRF_PbodyLeft')
c_c00_03_guardring_v0_srf______________________________________________________________.add(gdstk.Reference(c_c00_03_guardring_v0_srf_____________________________________________________________, (0,0)))

c_c00_03_guardring_v0_srf_______________________________________________________________ = lib.new_cell('C00_03_Guardring_v0:SRF_Pbodyring2:SRF_PbodyRight:SRF_PbodyContactPhyLen')
R(c_c00_03_guardring_v0_srf_______________________________________________________________, L2_0, [(-0.03,-8.984,0.27,0.125)])
R(c_c00_03_guardring_v0_srf_______________________________________________________________, L10_0, [(-0.051,-9.006,0.291,0.145)])
A(c_c00_03_guardring_v0_srf_______________________________________________________________, L14_1, 0, -8.9, 0.04, 0.04, 3, 90, 0.1, 0.1)
R(c_c00_03_guardring_v0_srf_______________________________________________________________, L15_0, [(-0.03,-8.984,0.27,0.125)])

c_c00_03_guardring_v0_srf________________________________________________________________ = lib.new_cell('C00_03_Guardring_v0:SRF_Pbodyring2:SRF_PbodyRight')
c_c00_03_guardring_v0_srf________________________________________________________________.add(gdstk.Reference(c_c00_03_guardring_v0_srf_______________________________________________________________, (0,0)))

c_c00_03_guardring_v0_srf_________________________________________________________________ = lib.new_cell('C00_03_Guardring_v0:SRF_Pbodyring2')
R(c_c00_03_guardring_v0_srf_________________________________________________________________, L2_0, [(-0.381,-9.639,11.921,-9.339), (-0.381,-9.639,-0.081,0.07), (11.621,-9.639,11.921,0.07), (-0.381,-0.23,11.921,0.07)])
R(c_c00_03_guardring_v0_srf_________________________________________________________________, L10_0, [(-0.402,-9.66,11.942,-9.318), (-0.402,-9.66,-0.06,0.091), (11.6,-9.66,11.942,0.091), (-0.402,-0.251,11.942,0.091)])
R(c_c00_03_guardring_v0_srf_________________________________________________________________, L15_0, [(-0.381,-9.639,11.921,-9.339), (-0.381,-9.639,-0.081,0.07), (11.621,-9.639,11.921,0.07), (-0.381,-0.23,11.921,0.07)])
c_c00_03_guardring_v0_srf_________________________________________________________________.add(gdstk.Reference(c_c00_03_guardring_v0_srf__________________________________________________________, (0,0)))
c_c00_03_guardring_v0_srf_________________________________________________________________.add(gdstk.Reference(c_c00_03_guardring_v0_srf____________________________________________________________, (0,-9.409)))
c_c00_03_guardring_v0_srf_________________________________________________________________.add(gdstk.Reference(c_c00_03_guardring_v0_srf______________________________________________________________, (-0.351,-0.355)))
c_c00_03_guardring_v0_srf_________________________________________________________________.add(gdstk.Reference(c_c00_03_guardring_v0_srf________________________________________________________________, (11.651,-0.355)))

c00_03_guardring_v0 = lib.new_cell('C00_03_Guardring_v0')
R(c00_03_guardring_v0, L3_0, [(-2.777,-2.374,4.725,2.535)])
R(c00_03_guardring_v0, L10_0, [(4.469,-1.009,4.681,1.17)])
A(c00_03_guardring_v0, L15_0, -1.121, -0.953, 0.05, 0.419, 3, 1, 0.26, 0)
R(c00_03_guardring_v0, L15_0, [(4.004,-0.069,4.625,0.231)])
R(c00_03_guardring_v0, L200_218, [(-4.027,-3.624,5.975,3.785)])
c00_03_guardring_v0.add(gdstk.Reference(c_c00_03_guardring_v0_srf__________________________________, (0,0)))
c00_03_guardring_v0.add(gdstk.Reference(c_c00_03_guardring_v0_srf___________________________________________, (-1.296,1.344)))
c00_03_guardring_v0.add(gdstk.Reference(c_c00_03_guardring_v0_srf_____________________________________________, (4.034,1.011)))
c00_03_guardring_v0.add(gdstk.Reference(c_c00_03_guardring_v0_srf______________________________________________________, (-3.096,3.165)))
c00_03_guardring_v0.add(gdstk.Reference(c_c00_03_guardring_v0_srf________________________________________________________, (4.555,1.011)))
c00_03_guardring_v0.add(gdstk.Reference(c_c00_03_guardring_v0_srf_________________________________________________________________, (-4.796,4.865)))

lib.write_gds('C00_03_Guardring_v0.gds')
